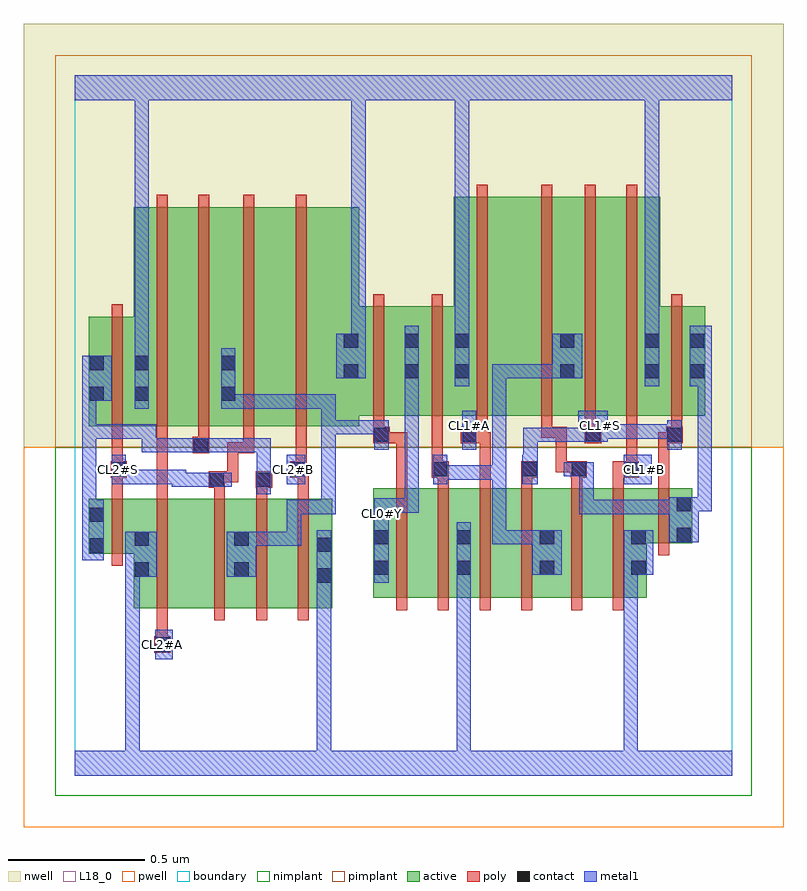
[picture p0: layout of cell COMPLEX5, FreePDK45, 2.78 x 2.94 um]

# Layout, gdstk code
import gdstk
lib = gdstk.Library(unit=1e-6, precision=1e-09)
def R(c, l, rs):  # rectangles x0, y0, x1, y1
    for r in rs: c.add(gdstk.rectangle(r[:2], r[2:], *l))
def A(c, l, x, y, w, h, nx, ny, dx, dy):  # array of equal rectangles
    R(c, l, [(x+i*dx, y+j*dy, x+i*dx+w, y+j*dy+h) for i in range(nx) for j in range(ny)])
active = (1, 0)
pwell = (2, 0)
nwell = (3, 0)
nimplant = (4, 0)
pimplant = (5, 0)
poly = (9, 0)
contact = (10, 0)
metal1 = (11, 0)
L18_0 = (18, 0)
boundary = (235, 0)

complex5 = lib.new_cell('COMPLEX5')
R(complex5, active, [(0.214,0.612,0.452,1.012), (0.214,0.612,0.274,0.896), (0.452,0.612,0.638,1.012), (0.578,0.612,0.758,1.012), (0.758,0.612,0.94,1.012), (0.88,0.612,0.94,1.012), (1.09,0.65,1.27,1.05), (1.27,0.65,1.45,1.05), (1.39,0.65,1.45,0.902), (1.39,0.65,1.574,1.05), (1.574,0.65,1.754,1.05), (1.694,0.65,1.908,1.05), (1.908,0.65,2.088,1.05), (2.028,0.65,2.088,0.902), (0.578,0.724,0.638,0.896), (1.09,0.73,1.15,1.05), (1.694,0.73,1.754,0.902), (0.05,0.812,0.11,1.012), (0.05,0.812,0.274,1.012), (2.028,0.85,2.254,1.05), (2.194,0.85,2.254,1.05), (0.05,1.278,0.274,1.678), (0.05,1.278,0.11,1.644), (0.214,1.278,0.394,2.078), (0.214,1.278,0.274,1.676), (0.394,1.278,0.59,2.078), (0.53,1.278,0.71,2.078), (0.53,1.278,0.59,2.044), (0.71,1.278,1.038,2.078), (0.978,1.316,1.038,1.644), (0.978,1.316,1.26,1.716), (1.2,1.316,1.26,1.644), (1.2,1.316,1.444,1.716), (1.384,1.316,1.564,2.116), (1.384,1.316,1.444,1.858), (1.564,1.316,1.828,2.116), (1.768,1.316,1.958,2.116), (1.768,1.316,1.828,2.044), (1.958,1.316,2.138,2.116), (2.078,1.316,2.302,1.716), (2.078,1.316,2.138,1.644), (2.242,1.316,2.302,1.716)])
R(complex5, pwell, [(-0.188,-0.188,2.588,1.2)])
R(complex5, nwell, [(-0.188,1.2,2.588,2.748)])
R(complex5, nimplant, [(-0.072,-0.072,2.472,1.2)])
R(complex5, pimplant, [(-0.072,1.2,2.472,2.632)])
A(complex5, poly, 1.174, 0.606, 0.04, 0.488, 4, 1, 0.152, 0)
R(complex5, poly, [(0.29,0.45,0.35,0.51), (0.298,0.47,0.338,0.608), (0.298,0.568,0.338,1.056), (0.508,0.568,0.548,1.056), (0.662,0.568,0.702,1.056), (0.814,0.568,0.854,1.056), (1.812,0.606,1.852,1.094), (1.964,0.606,2.004,1.094), (0.134,0.768,0.174,1.056), (2.13,0.806,2.17,1.094), (0.134,1.016,0.174,1.13), (0.298,1.016,0.338,1.092), (0.508,1.016,0.548,1.092), (0.662,1.016,0.702,1.092), (0.814,1.016,0.854,1.13), (0.298,1.052,0.338,1.092), (0.298,1.052,0.338,1.092), (0.298,1.052,0.338,1.092), (0.298,1.052,0.338,1.274), (0.488,1.052,0.548,1.112), (0.66,1.052,0.72,1.112), (1.174,1.054,1.214,1.256), (1.326,1.054,1.366,1.13), (1.478,1.054,1.518,1.256), (1.63,1.054,1.67,1.13), (1.812,1.054,1.852,1.13), (1.964,1.054,2.004,1.13), (2.13,1.054,2.17,1.256), (0.508,1.072,0.596,1.112), (0.556,1.072,0.596,1.112), (0.556,1.072,0.596,1.218), (0.13,1.09,0.19,1.15), (0.786,1.09,0.846,1.15), (0.806,1.09,0.846,1.13), (0.806,1.09,0.854,1.13), (1.304,1.09,1.366,1.15), (1.63,1.09,1.69,1.15), (1.81,1.09,1.87,1.15), (1.964,1.09,2.06,1.15), (0.134,1.11,0.174,1.15), (0.134,1.11,0.174,1.15), (0.134,1.11,0.174,1.274), (0.806,1.11,0.846,1.274), (1.304,1.11,1.344,1.15), (1.304,1.11,1.344,1.15), (1.304,1.11,1.344,1.312), (1.756,1.11,1.796,1.15), (1.756,1.11,1.85,1.15), (1.756,1.11,1.796,1.276), (2.014,1.11,2.054,1.15), (2.014,1.11,2.054,1.15), (2.014,1.11,2.054,1.312), (0.43,1.178,0.49,1.238), (0.556,1.178,0.596,1.218), (0.556,1.178,0.654,1.218), (0.614,1.178,0.654,1.218), (0.614,1.178,0.654,1.274), (0.45,1.198,0.49,1.274), (1.09,1.216,1.15,1.276), (1.11,1.216,1.15,1.256), (1.11,1.216,1.214,1.256), (1.41,1.216,1.508,1.276), (1.468,1.216,1.508,1.256), (1.468,1.216,1.518,1.256), (1.862,1.216,1.922,1.276), (2.13,1.216,2.2,1.256), (2.16,1.216,2.2,1.256), (2.16,1.216,2.22,1.276), (0.134,1.234,0.174,1.722), (0.298,1.234,0.338,2.122), (0.45,1.234,0.49,2.122), (0.614,1.234,0.654,2.122), (0.806,1.234,0.846,2.122), (1.09,1.236,1.13,1.312), (1.468,1.236,1.508,1.312), (1.704,1.236,1.744,1.312), (1.704,1.236,1.744,1.276), (1.704,1.236,1.796,1.276), (1.756,1.236,1.796,1.276), (1.862,1.236,1.902,1.312), (2.178,1.236,2.218,1.312), (1.09,1.272,1.13,1.76), (1.304,1.272,1.344,1.76), (1.468,1.272,1.508,2.16), (1.704,1.272,1.744,2.16), (1.862,1.272,1.902,2.16), (2.014,1.272,2.054,2.16), (2.178,1.272,2.218,1.76)])
R(complex5, contact, [(0.294,0.454,0.346,0.506), (0.884,0.706,0.936,0.758), (0.218,0.728,0.27,0.78), (0.582,0.728,0.634,0.78), (1.094,0.734,1.146,0.786), (1.394,0.734,1.446,0.786), (1.698,0.734,1.75,0.786), (2.032,0.734,2.084,0.786), (0.054,0.816,0.106,0.868), (0.884,0.818,0.936,0.87), (0.218,0.84,0.27,0.892), (0.582,0.84,0.634,0.892), (1.094,0.846,1.146,0.898), (1.394,0.846,1.446,0.898), (1.698,0.846,1.75,0.898), (2.032,0.846,2.084,0.898), (2.198,0.854,2.25,0.906), (0.054,0.928,0.106,0.98), (2.198,0.966,2.25,1.018), (0.492,1.056,0.544,1.108), (0.664,1.056,0.716,1.108), (0.134,1.094,0.186,1.146), (0.79,1.094,0.842,1.146), (1.308,1.094,1.36,1.146), (1.634,1.094,1.686,1.146), (1.814,1.094,1.866,1.146), (2.004,1.094,2.056,1.146), (0.434,1.182,0.486,1.234), (1.094,1.22,1.146,1.272), (1.414,1.22,1.466,1.272), (1.866,1.22,1.918,1.272), (2.164,1.22,2.216,1.272), (0.054,1.37,0.106,1.422), (0.218,1.37,0.27,1.422), (0.534,1.37,0.586,1.422), (0.982,1.452,1.034,1.504), (1.204,1.452,1.256,1.504), (1.388,1.452,1.44,1.504), (1.772,1.452,1.824,1.504), (2.082,1.452,2.134,1.504), (2.246,1.452,2.298,1.504), (0.054,1.482,0.106,1.534), (0.218,1.482,0.27,1.534), (0.534,1.482,0.586,1.534), (0.982,1.564,1.034,1.616), (1.204,1.564,1.256,1.616), (1.388,1.564,1.44,1.616), (1.772,1.564,1.824,1.616), (2.082,1.564,2.134,1.616), (2.246,1.564,2.298,1.616)])
R(complex5, metal1, [(0,0,2.4,0.092), (0.184,0.04,0.236,0.092), (0.184,0.04,0.236,0.092), (0.184,0.04,0.236,0.78), (0.884,0.04,0.936,0.092), (0.884,0.04,0.936,0.092), (0.884,0.04,0.936,0.092), (0.884,0.04,0.936,0.092), (0.884,0.04,0.936,0.73), (1.394,0.04,1.446,0.092), (1.394,0.04,1.446,0.092), (1.394,0.04,1.446,0.092), (1.394,0.04,1.446,0.092), (1.394,0.04,1.446,0.092), (1.394,0.04,1.446,0.092), (1.394,0.04,1.446,0.758), (2.004,0.04,2.056,0.092), (2.004,0.04,2.056,0.092), (2.004,0.04,2.056,0.092), (2.004,0.04,2.056,0.092), (2.004,0.04,2.056,0.092), (2.004,0.04,2.056,0.092), (2.004,0.04,2.056,0.786), (0.294,0.426,0.358,0.534), (0.884,0.678,0.936,0.73), (0.884,0.678,0.936,0.73), (0.884,0.678,0.936,0.73), (0.884,0.678,0.936,0.73), (0.884,0.678,0.936,0.73), (0.884,0.678,0.936,0.73), (0.884,0.678,0.936,0.73), (0.884,0.678,0.936,0.73), (0.884,0.678,0.936,0.898), (1.094,0.706,1.146,0.926), (1.394,0.706,1.446,0.758), (1.394,0.706,1.446,0.758), (1.394,0.706,1.446,0.758), (1.394,0.706,1.446,0.758), (1.394,0.706,1.446,0.758), (1.394,0.706,1.446,0.758), (1.394,0.706,1.446,0.926), (0.184,0.728,0.236,0.78), (0.184,0.728,0.236,0.78), (0.184,0.728,0.236,0.78), (0.184,0.728,0.236,0.78), (0.184,0.728,0.236,0.78), (0.184,0.728,0.236,0.78), (0.184,0.728,0.236,0.78), (0.184,0.728,0.236,0.78), (0.184,0.728,0.236,0.78), (0.184,0.728,0.236,0.78), (0.184,0.728,0.298,0.892), (0.554,0.728,0.662,0.892), (1.67,0.734,1.778,0.898), (2.004,0.734,2.056,0.786), (2.004,0.734,2.056,0.786), (2.004,0.734,2.056,0.786), (2.004,0.734,2.056,0.786), (2.004,0.734,2.056,0.786), (2.004,0.734,2.056,0.786), (2.004,0.734,2.112,0.898), (0.026,0.788,0.106,1.008), (0.61,0.84,0.682,0.892), (0.63,0.84,0.682,0.892), (0.63,0.84,0.826,0.892), (0.774,0.84,0.826,0.892), (0.774,0.84,0.826,1.008), (1.524,0.846,1.576,0.898), (1.524,0.846,1.722,0.898), (1.524,0.846,1.576,1.134), (1.67,0.846,1.722,0.898), (1.67,0.846,1.722,0.898), (2.17,0.854,2.278,1.018), (1.094,0.874,1.146,0.958), (1.094,0.906,1.146,1.014), (0.026,0.956,0.078,1.284), (0.774,0.956,0.826,1.008), (0.774,0.956,0.952,1.008), (0.9,0.956,0.952,1.008), (0.9,0.956,0.952,1.008), (0.9,0.956,0.952,1.008), (0.9,0.956,0.952,1.3), (1.842,0.956,1.894,1.008), (1.842,0.956,2.056,1.008), (1.842,0.956,1.894,1.146), (2.004,0.956,2.056,1.008), (2.004,0.956,2.056,1.008), (2.004,0.956,2.056,1.008), (2.004,0.956,2.222,1.008), (2.17,0.956,2.222,1.008), (2.17,0.956,2.222,1.008), (1.094,0.962,1.146,1.014), (1.094,0.962,1.146,1.014), (1.094,0.962,1.256,1.014), (1.204,0.962,1.256,1.014), (1.204,0.962,1.256,1.476), (2.226,0.966,2.278,1.018), (2.226,0.966,2.326,1.018), (2.274,0.966,2.326,1.476), (0.664,1.028,0.716,1.136), (0.354,1.056,0.516,1.108), (0.354,1.056,0.406,1.118), (0.464,1.056,0.572,1.108), (0.134,1.066,0.186,1.174), (0.134,1.066,0.296,1.118), (0.244,1.066,0.296,1.118), (0.244,1.066,0.296,1.118), (0.244,1.066,0.296,1.118), (0.244,1.066,0.406,1.118), (0.774,1.066,0.842,1.174), (1.308,1.066,1.36,1.174), (1.634,1.066,1.69,1.174), (2.004,1.066,2.106,1.174), (1.308,1.082,1.366,1.134), (1.314,1.082,1.366,1.134), (1.314,1.082,1.47,1.134), (1.418,1.082,1.47,1.134), (1.418,1.082,1.576,1.134), (1.524,1.082,1.576,1.134), (1.524,1.082,1.576,1.134), (1.524,1.082,1.576,1.134), (1.524,1.082,1.576,1.504), (0.664,1.084,0.716,1.136), (0.664,1.084,0.716,1.136), (0.664,1.084,0.716,1.234), (1.786,1.094,1.894,1.146), (1.842,1.094,1.894,1.146), (1.842,1.094,1.894,1.146), (1.638,1.122,1.69,1.174), (1.638,1.122,1.69,1.174), (1.638,1.122,1.69,1.272), (0.244,1.182,0.458,1.234), (0.244,1.182,0.296,1.284), (0.406,1.182,0.458,1.234), (0.406,1.182,0.458,1.234), (0.406,1.182,0.514,1.234), (0.462,1.182,0.716,1.234), (0.664,1.182,0.716,1.234), (1.094,1.192,1.146,1.3), (1.414,1.192,1.466,1.334), (2.164,1.192,2.216,1.3), (1.638,1.22,1.69,1.272), (1.638,1.22,1.89,1.272), (1.838,1.22,1.946,1.334), (0.026,1.232,0.078,1.284), (0.026,1.232,0.078,1.284), (0.026,1.232,0.078,1.284), (0.026,1.232,0.078,1.284), (0.026,1.232,0.078,1.284), (0.026,1.232,0.078,1.422), (0.026,1.232,0.296,1.284), (0.244,1.232,0.296,1.284), (0.244,1.232,0.296,1.284), (1.894,1.232,1.946,1.284), (1.894,1.232,1.946,1.284), (1.894,1.232,2.056,1.284), (2.004,1.232,2.056,1.284), (2.004,1.232,2.056,1.284), (2.004,1.232,2.056,1.284), (2.004,1.232,2.216,1.284), (0.9,1.248,0.952,1.3), (0.9,1.248,1.146,1.3), (0.9,1.248,0.952,1.394), (1.094,1.248,1.146,1.3), (1.094,1.248,1.146,1.3), (0.218,1.342,0.27,1.562), (0.534,1.342,0.586,1.562), (0.534,1.342,0.716,1.394), (0.664,1.342,0.716,1.394), (0.664,1.342,0.826,1.394), (0.774,1.342,0.826,1.394), (0.774,1.342,0.952,1.394), (0.9,1.342,0.952,1.394), (0.9,1.342,0.952,1.394), (0.9,1.342,0.952,1.394), (0.026,1.37,0.134,1.534), (1.204,1.424,1.256,1.476), (1.204,1.424,1.256,1.476), (1.204,1.424,1.256,1.644), (1.388,1.424,1.44,1.644), (2.082,1.424,2.134,1.644), (2.246,1.424,2.326,1.644), (2.274,1.424,2.326,1.476), (2.274,1.424,2.326,1.476), (0.954,1.452,1.062,1.616), (1.524,1.452,1.58,1.504), (1.528,1.452,1.58,1.504), (1.528,1.452,1.58,1.504), (1.528,1.452,1.796,1.504), (1.744,1.452,1.852,1.616), (0.218,1.51,0.27,1.562), (0.218,1.51,0.27,1.562), (0.218,1.51,0.27,2.52), (1.01,1.564,1.062,1.616), (1.01,1.564,1.062,1.616), (1.01,1.564,1.062,1.616), (1.01,1.564,1.062,1.616), (1.01,1.564,1.062,1.616), (1.01,1.564,1.062,1.616), (1.01,1.564,1.062,1.616), (1.01,1.564,1.062,1.616), (1.01,1.564,1.062,2.52), (1.388,1.592,1.44,1.644), (1.388,1.592,1.44,1.644), (1.388,1.592,1.44,1.644), (1.388,1.592,1.44,1.644), (1.388,1.592,1.44,1.644), (1.388,1.592,1.44,1.644), (1.388,1.592,1.44,1.644), (1.388,1.592,1.44,1.644), (1.388,1.592,1.44,2.52), (2.082,1.592,2.134,1.644), (2.082,1.592,2.134,1.644), (2.082,1.592,2.134,1.644), (2.082,1.592,2.134,1.644), (2.082,1.592,2.134,1.644), (2.082,1.592,2.134,1.644), (2.082,1.592,2.134,1.644), (2.082,1.592,2.134,1.644), (2.082,1.592,2.134,2.52), (0,2.468,2.4,2.56), (0.218,2.468,0.27,2.52), (0.218,2.468,0.27,2.52), (0.218,2.468,0.27,2.52), (0.218,2.468,0.27,2.52), (0.218,2.468,0.27,2.52), (0.218,2.468,0.27,2.52)])
R(complex5, L18_0, [(0,0,2.4,0.092), (0.184,0.04,0.236,0.092), (0.184,0.04,0.236,0.092), (0.184,0.04,0.236,0.78), (0.884,0.04,0.936,0.092), (0.884,0.04,0.936,0.092), (0.884,0.04,0.936,0.092), (0.884,0.04,0.936,0.092), (0.884,0.04,0.936,0.73), (1.394,0.04,1.446,0.092), (1.394,0.04,1.446,0.092), (1.394,0.04,1.446,0.092), (1.394,0.04,1.446,0.092), (1.394,0.04,1.446,0.092), (1.394,0.04,1.446,0.092), (1.394,0.04,1.446,0.758), (2.004,0.04,2.056,0.092), (2.004,0.04,2.056,0.092), (2.004,0.04,2.056,0.092), (2.004,0.04,2.056,0.092), (2.004,0.04,2.056,0.092), (2.004,0.04,2.056,0.092), (2.004,0.04,2.056,0.786), (0.294,0.426,0.358,0.534), (0.294,0.454,0.346,0.506), (0.884,0.678,0.936,0.73), (0.884,0.678,0.936,0.73), (0.884,0.678,0.936,0.73), (0.884,0.678,0.936,0.73), (0.884,0.678,0.936,0.73), (0.884,0.678,0.936,0.73), (0.884,0.678,0.936,0.73), (0.884,0.678,0.936,0.73), (0.884,0.678,0.936,0.898), (1.094,0.706,1.146,0.926), (1.394,0.706,1.446,0.758), (1.394,0.706,1.446,0.758), (1.394,0.706,1.446,0.758), (1.394,0.706,1.446,0.758), (1.394,0.706,1.446,0.758), (1.394,0.706,1.446,0.758), (1.394,0.706,1.446,0.926), (0.184,0.728,0.236,0.78), (0.184,0.728,0.236,0.78), (0.184,0.728,0.236,0.78), (0.184,0.728,0.236,0.78), (0.184,0.728,0.236,0.78), (0.184,0.728,0.236,0.78), (0.184,0.728,0.236,0.78), (0.184,0.728,0.236,0.78), (0.184,0.728,0.236,0.78), (0.184,0.728,0.236,0.78), (0.184,0.728,0.298,0.892), (2.004,0.734,2.056,0.786), (2.004,0.734,2.056,0.786), (2.004,0.734,2.056,0.786), (2.004,0.734,2.056,0.786), (2.004,0.734,2.056,0.786), (2.004,0.734,2.056,0.786), (2.004,0.734,2.112,0.898), (1.094,0.874,1.146,0.958), (1.094,0.906,1.146,1.014), (1.094,0.934,1.146,0.986), (1.094,0.962,1.146,1.014), (1.094,0.962,1.146,1.014), (1.094,0.962,1.256,1.014), (1.204,0.962,1.256,1.014), (1.204,0.962,1.256,1.476), (0.354,1.056,0.516,1.108), (0.354,1.056,0.406,1.118), (0.464,1.056,0.572,1.108), (0.134,1.066,0.186,1.174), (0.134,1.066,0.296,1.118), (0.244,1.066,0.296,1.118), (0.244,1.066,0.296,1.118), (0.244,1.066,0.296,1.118), (0.244,1.066,0.406,1.118), (0.774,1.066,0.842,1.174), (1.634,1.066,1.69,1.174), (2.004,1.066,2.106,1.174), (0.134,1.094,0.186,1.146), (0.774,1.094,0.826,1.146), (2.054,1.094,2.106,1.146), (1.638,1.122,1.69,1.174), (1.638,1.122,1.69,1.174), (1.638,1.122,1.69,1.272), (1.414,1.192,1.466,1.334), (2.164,1.192,2.216,1.3), (1.638,1.22,1.69,1.272), (1.638,1.22,1.89,1.272), (1.838,1.22,1.946,1.334), (1.894,1.232,1.946,1.284), (1.894,1.232,1.946,1.284), (1.894,1.232,2.056,1.284), (2.004,1.232,2.056,1.284), (2.004,1.232,2.056,1.284), (2.004,1.232,2.056,1.284), (2.004,1.232,2.216,1.284), (1.414,1.254,1.466,1.306), (1.894,1.254,1.946,1.306), (0.218,1.342,0.27,1.562), (1.204,1.424,1.256,1.476), (1.204,1.424,1.256,1.476), (1.204,1.424,1.256,1.644), (1.388,1.424,1.44,1.644), (2.082,1.424,2.134,1.644), (0.954,1.452,1.062,1.616), (0.218,1.51,0.27,1.562), (0.218,1.51,0.27,1.562), (0.218,1.51,0.27,2.52), (1.01,1.564,1.062,1.616), (1.01,1.564,1.062,1.616), (1.01,1.564,1.062,1.616), (1.01,1.564,1.062,1.616), (1.01,1.564,1.062,1.616), (1.01,1.564,1.062,1.616), (1.01,1.564,1.062,1.616), (1.01,1.564,1.062,1.616), (1.01,1.564,1.062,2.52), (1.388,1.592,1.44,1.644), (1.388,1.592,1.44,1.644), (1.388,1.592,1.44,1.644), (1.388,1.592,1.44,1.644), (1.388,1.592,1.44,1.644), (1.388,1.592,1.44,1.644), (1.388,1.592,1.44,1.644), (1.388,1.592,1.44,1.644), (1.388,1.592,1.44,2.52), (2.082,1.592,2.134,1.644), (2.082,1.592,2.134,1.644), (2.082,1.592,2.134,1.644), (2.082,1.592,2.134,1.644), (2.082,1.592,2.134,1.644), (2.082,1.592,2.134,1.644), (2.082,1.592,2.134,1.644), (2.082,1.592,2.134,1.644), (2.082,1.592,2.134,2.52), (0,2.468,2.4,2.56), (0.218,2.468,0.27,2.52), (0.218,2.468,0.27,2.52), (0.218,2.468,0.27,2.52), (0.218,2.468,0.27,2.52), (0.218,2.468,0.27,2.52), (0.218,2.468,0.27,2.52)])
R(complex5, boundary, [(0,0,2.4,2.56)])
complex5.add(gdstk.Label('CL0#Y', (1.12,0.96), layer=11, texttype=0))
complex5.add(gdstk.Label('CL1#A', (1.44,1.28), layer=11, texttype=0))
complex5.add(gdstk.Label('CL1#B', (2.08,1.12), layer=11, texttype=0))
complex5.add(gdstk.Label('CL1#S', (1.92,1.28), layer=11, texttype=0))
complex5.add(gdstk.Label('CL2#A', (0.32,0.48), layer=11, texttype=0))
complex5.add(gdstk.Label('CL2#B', (0.8,1.12), layer=11, texttype=0))
complex5.add(gdstk.Label('CL2#S', (0.16,1.12), layer=11, texttype=0))

lib.write_gds('COMPLEX5.gds')
